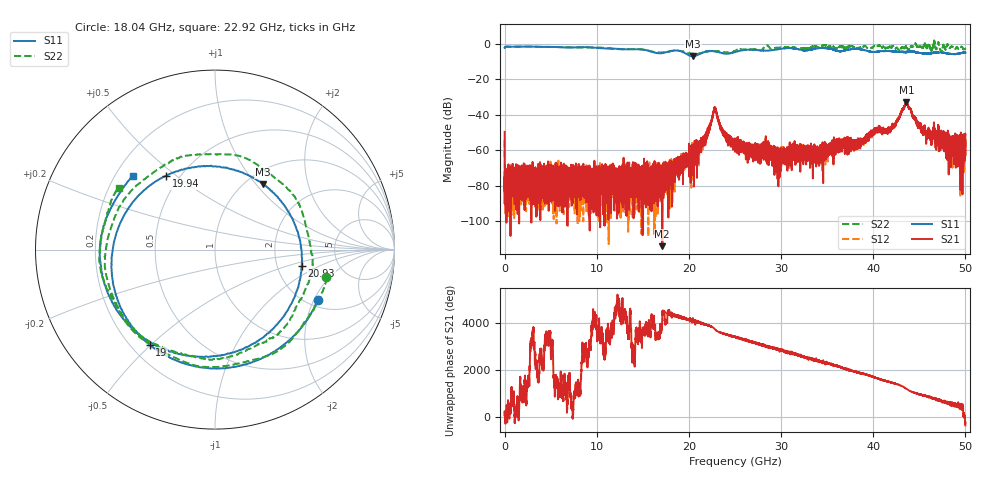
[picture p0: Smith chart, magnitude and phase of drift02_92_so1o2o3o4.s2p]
!Created with skrf (http://scikit-rf.org).
# Hz S RI R 50.0
!freq ReS11 ImS11 ReS21 ImS21 ReS12 ImS12 ReS22 ImS22
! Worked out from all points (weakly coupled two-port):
!   10001 points, 300 kHz to 50 GHz, reference 50 ohm
!   highest |S21| = -32.77 dB at 43.61 GHz (marker M1); lowest = -114.2 dB at 17.11 GHz (marker M2)
!   lowest |S11| = -6.9 dB at 20.44 GHz (marker M3), VSWR 2.64, Z = 59.5 + j54.3 ohm
!   |S11| at or under -10 dB: nowhere
!   |S22| runs from -5.7 to 2.1 dB; largest |S21 - S12| = 0.0039
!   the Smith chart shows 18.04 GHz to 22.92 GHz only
!   S11 on the Smith chart (normalised r, x): 18.04 GHz: 2.28, -2.14; 19 GHz: 0.27, -0.50; 19.94 GHz: 0.42, +0.46; 20.93 GHz: 2.76, -0.67; 22.92 GHz: 0.27, +0.36
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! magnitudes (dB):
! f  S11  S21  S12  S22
! 300 kHz  -2.1  -49.6  -54.4  -2.1
! 305.3 MHz  -1.4  -81.9  -77.7  -1.4
! 8.335 GHz  -1.7  -76.8  -72.9  -1.9
! 16.67 GHz  -5.2  -75.5  -74.2  -4.7
! 17.11 GHz  -5.1  -114.2  -95.2  -4.7
! 18.04 GHz  -3.9  -73.5  -71.4  -3.9
! 19 GHz  -3.8  -64.5  -67.3  -3.9
! 19.94 GHz  -6.1  -65.6  -65.3  -5.2
! 20.44 GHz  -6.9  -60.4  -67.4  -5.4
! 20.93 GHz  -6.1  -60.6  -59.8  -5.6
! 22.92 GHz  -4.2  -37.0  -37.0  -3.9
! 23.83 GHz  -5.3  -50.0  -50.4  -4.6
! 25 GHz  -4.5  -54.3  -56.3  -3.8
! 29.83 GHz  -2.8  -63.3  -60.6  -2.0
! 33.34 GHz  -3.0  -61.2  -62.3  -1.5
! 37.93 GHz  -2.8  -59.2  -57.4  -1.7
! 40.25 GHz  -4.4  -48.5  -49.3  -0.8
! 41.67 GHz  -3.9  -49.2  -47.7  -1.9
! 43.61 GHz  -4.5  -32.8  -33.1  -1.4
! 45.67 GHz  -5.5  -49.0  -50.6  -0.3
! 48.42 GHz  -5.5  -61.4  -57.1  -1.5
! 50 GHz  -4.8  -54.2  -58.8  -2.6
